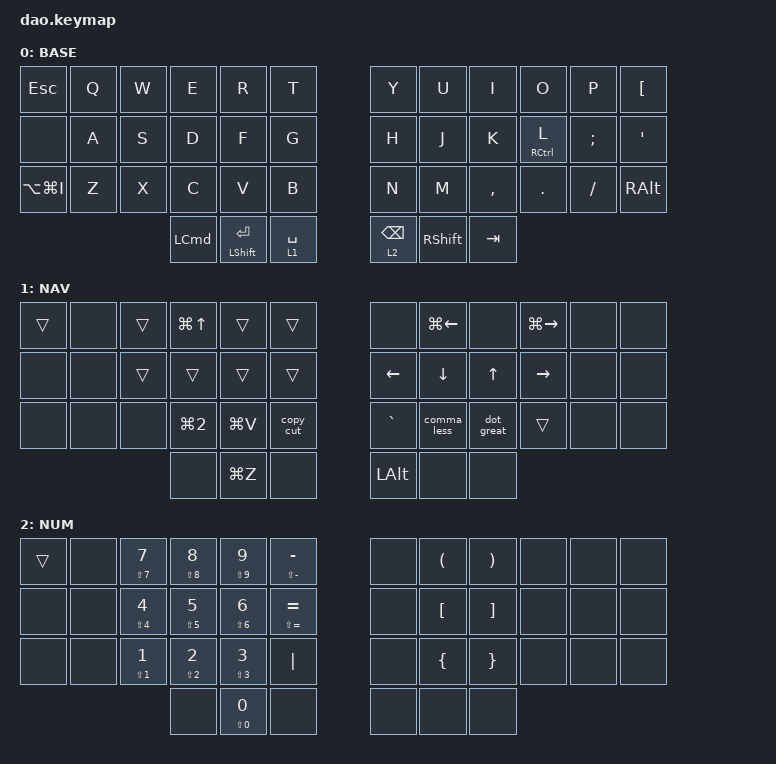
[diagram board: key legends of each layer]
/*
 * Copyright (c) 2021 Rafael Yumagulov
 *
 * SPDX-License-Identifier: MIT
 */

#include <behaviors.dtsi>
#include <dt-bindings/zmk/keys.h>

#define DEF 0
#define LWR 1
#define RSE 2
#define ADJ 3

&lt { quick_tap_ms = <200>; };

&mt {
    quick_tap_ms = <200>;
    tapping-term-ms = <150>;
    flavor = "hold-preferred";
};

/ {
    chosen {
        zmk,matrix_transform = &default_transform;

        // zmk,matrix_transform = &extra_keys_transform;
    };
};

/ {
    combos {
        compatible = "zmk,combos";

        LANG {
            bindings = <&kp LC(L)>;
            key-positions = <12>;
            layers = <0>;
        };
    };

    behaviors {
        copy_cut: copy_cut {
            compatible = "zmk,behavior-tap-dance";
            label = "COPY_CUT";
            #binding-cells = <0>;
            bindings = <&kp LG(C)>, <&kp LG(X)>;
        };

        home_row: home_row {
            compatible = "zmk,behavior-hold-tap";
            label = "HOME_ROW";
            bindings = <&kp>, <&kp>;

            #binding-cells = <2>;
            tapping-term-ms = <280>;
            quick-tap-ms = <125>;
            flavor = "balanced";
            hold-trigger-key-positions = <16 15 14 13 19 20 21 22>;
        };

        comma_less: comma_less {
            compatible = "zmk,behavior-tap-dance";
            label = "COMMA_LESS";
            #binding-cells = <0>;
            bindings = <&kp COMMA>, <&kp LS(COMMA)>;

            tapping-term-ms = <150>;
        };

        dot_great: dot_great {
            compatible = "zmk,behavior-tap-dance";
            label = "DOT_GREAT";
            #binding-cells = <0>;
            bindings = <&kp DOT>, <&kp LS(DOT)>;

            tapping-term-ms = <150>;
        };

        tap_dance: tap_dance {
            compatible = "zmk,behavior-tap-dance";
            label = "TAP_DANCE";
            #binding-cells = <0>;
            bindings = <&none>, <&none>;
        };
    };

    keymap {
        compatible = "zmk,keymap";

        BASE {
            bindings = <
  &kp ESCAPE     &kp Q  &kp W  &kp E             &kp R           &kp T          &kp Y            &kp U            &kp I      &kp O                      &kp P     &kp LEFT_BRACKET
  &none          &kp A  &kp S  &kp D             &kp F           &kp G          &kp H            &kp J            &kp K      &home_row RIGHT_CONTROL L  &kp SEMI  &kp SQT
  &kp LA(LG(I))  &kp Z  &kp X  &kp C             &kp V           &kp B          &kp N            &kp M            &kp COMMA  &kp DOT                    &kp FSLH  &kp RIGHT_ALT
                               &kp LEFT_COMMAND  &mt LSHIFT RET  &lt 1 SPACE    &lt 2 BACKSPACE  &kp RIGHT_SHIFT  &kp TAB
            >;
        };

        NAV {
            bindings = <
  &trans  &none  &trans  &kp LG(UP)  &trans     &trans       &none           &kp LG(LEFT_ARROW)  &none         &kp LG(RIGHT_ARROW)  &none  &none
  &none   &none  &trans  &trans      &trans     &trans       &kp LEFT_ARROW  &kp DOWN_ARROW      &kp UP_ARROW  &kp RIGHT_ARROW      &none  &none
  &none   &none  &none   &kp LG(N2)  &kp LG(V)  &copy_cut    &kp GRAVE       &comma_less         &dot_great    &trans               &none  &none
                         &none       &kp LG(Z)  &none        &kp LEFT_ALT    &none               &none
            >;
        };

        NUM {
            bindings = <
  &trans  &none  &mt LS(N7) N7        &mt LS(N8) N8  &mt LS(N9) N9  &mt LS(MINUS) MINUS    &none  &kp LEFT_PARENTHESIS  &kp RIGHT_PARENTHESIS  &none  &none  &none
  &none   &none  &mt LS(N4) NUMBER_4  &mt LS(N5) N5  &mt LS(N6) N6  &mt LS(EQUAL) EQUAL    &none  &kp LEFT_BRACKET      &kp RIGHT_BRACKET      &none  &none  &none
  &none   &none  &mt LS(N1) NUMBER_1  &mt LS(N2) N2  &mt LS(N3) N3  &kp PIPE               &none  &kp LEFT_BRACE        &kp RIGHT_BRACE        &none  &none  &none
                                      &none          &mt LS(N0) N0  &none                  &none  &none                 &none
            >;
        };
    };
};
